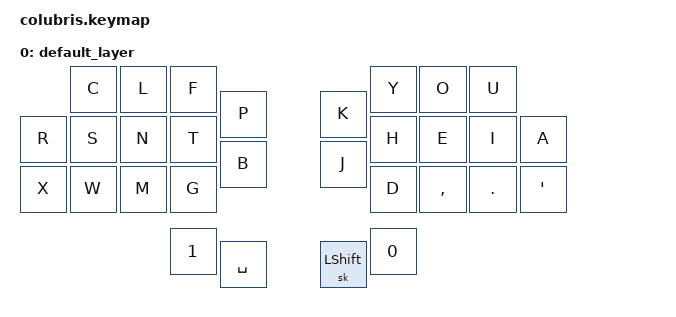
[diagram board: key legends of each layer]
#include <behaviors.dtsi>
#include <behaviors/studio_unlock.dtsi>
#include <dt-bindings/zmk/keys.h>
#include <dt-bindings/zmk/bt.h>
#include <dt-bindings/zmk/outputs.h>


&mt {
    flavor = "hold-preferred";
    tapping-term-ms = <150>;
};

&lt {
    flavor = "balanced";
    tapping-term-ms = <150>;
};

&caps_word {
    continue-list = <UNDERSCORE MINUS BSPC DEL N1 N2 N3 N4 N5 N6 N7 N8 N9 N0>;
};

/ {

    keymap {
        compatible = "zmk,keymap";

        default_layer {
            bindings = <
                          &kp C     &kp L     &kp F     &kp P       &kp K     &kp Y     &kp O     &kp U     
                &kp R     &kp S     &kp N     &kp T     &kp B       &kp J     &kp H     &kp E     &kp I     &kp A
                &kp X     &kp W     &kp M     &kp G                           &kp D     &kp COMMA &kp DOT   &kp QUOT
                                    &kp N1    &kp SPACE             &sk LSHFT &kp N0
            >;
        };

    };
};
